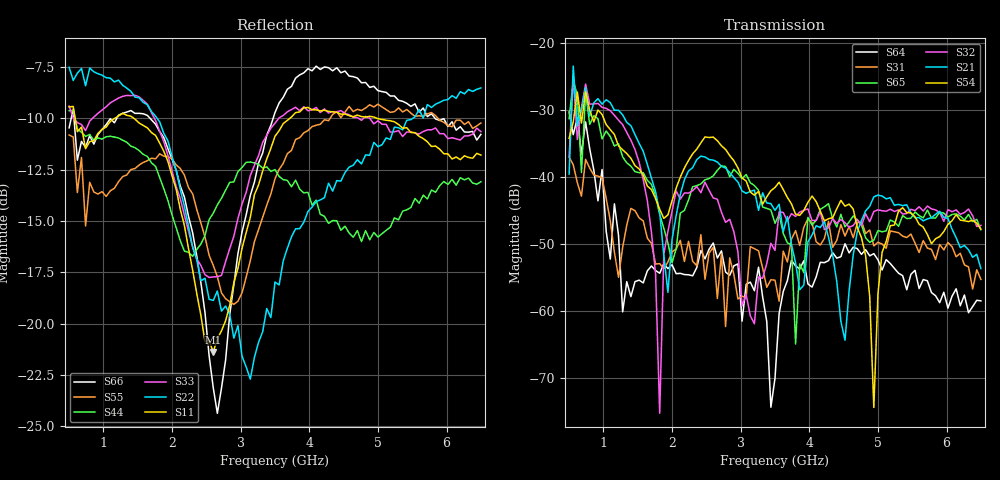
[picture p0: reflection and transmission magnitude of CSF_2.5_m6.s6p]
!Keysight Technologies,M9804A,MY58100912,A.14.10.03
!Date: Thursday, April 27, 2023 10:28:33
!Correction: S11(C  6-Port  )
!S12(C  6-Port  )
!S13(C  6-Port  )
!S14(C  6-Port  )
!S15(C  6-Port  )
!S16(C  6-Port  )
!S21(C  6-Port  )
!S22(C  6-Port  )
!S23(C  6-Port  )
!S24(C  6-Port  )
!S25(C  6-Port  )
!S26(C  6-Port  )
!S31(C  6-Port  )
!S32(C  6-Port  )
!S33(C  6-Port  )
!S34(C  6-Port  )
!S35(C  6-Port  )
!S36(C  6-Port  )
!S41(C  6-Port  )
!S42(C  6-Port  )
!S43(C  6-Port  )
!S44(C  6-Port  )
!S45(C  6-Port  )
!S46(C  6-Port  )
!S51(C  6-Port  )
!S52(C  6-Port  )
!S53(C  6-Port  )
!S54(C  6-Port  )
!S55(C  6-Port  )
!S56(C  6-Port  )
!S61(C  6-Port  )
!S62(C  6-Port  )
!S63(C  6-Port  )
!S64(C  6-Port  )
!S65(C  6-Port  )
!S66(C  6-Port  )
!S6P File: Measurement: :
# Hz S  RI  R 50
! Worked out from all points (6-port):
!   101 points, 500 MHz to 6.5 GHz, reference 50 ohm
!   strongest paths, dB at 500 MHz, 2 GHz, 3.5 GHz, 5 GHz, 6.5 GHz:
!     S54: -34.2, -43.5, -41.6, -57.4, -47.8
!     S21: -39.6, -49.3, -45.0, -42.7, -53.7
!     S32: -36.9, -45.1, -50.9, -44.9, -47.2
!     S65: -31.3, -52.8, -46.9, -48.0, -47.9
!     S31: -37.0, -51.2, -55.4, -49.7, -55.3
!     S64: -30.3, -53.1, -70.0, -52.3, -58.5
!   lowest |S11| = -21.4 dB at 2.6 GHz (marker M1), VSWR 1.19, Z = 42.4 + j2.18 ohm
!   |S11| at or under -10 dB: 588.2 MHz to 1.163 GHz (575.2 MHz wide, 65.7 % of centre); 1.444 GHz to 3.715 GHz (2.271 GHz wide, 88 % of centre); 4.987 GHz to end of sweep
